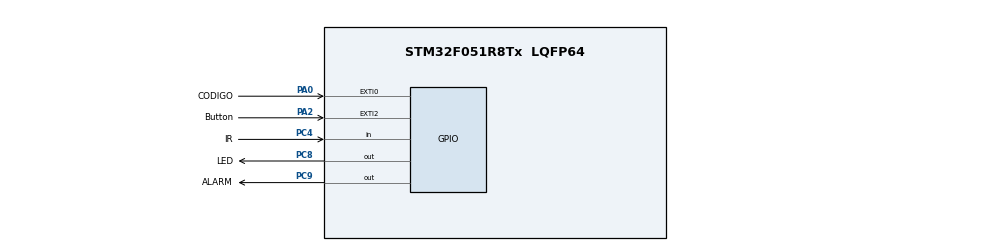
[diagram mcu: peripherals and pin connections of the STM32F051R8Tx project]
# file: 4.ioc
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FREERTOS.INCLUDE_vTaskDelay=1
FREERTOS.INCLUDE_vTaskDelayUntil=1
FREERTOS.Tasks01=MainTask,0,128,StartMainTask,Default,NULL,Dynamic,NULL,NULL
Mcu.Family=STM32F0
Mcu.Name=STM32F051R8Tx
Mcu.Package=LQFP64
NVIC.EXTI0_1_IRQn=true\:3\:0\:false\:false\:true\:true\:true
NVIC.EXTI2_3_IRQn=true\:3\:0\:false\:false\:true\:true\:true
NVIC.TIM1_BRK_UP_TRG_COM_IRQn=true\:0\:0\:false\:false\:true\:false\:false
NVIC.TimeBase=TIM1_BRK_UP_TRG_COM_IRQn
NVIC.TimeBaseIP=TIM1
PA0.GPIO_Label=CODIGO
PA0.Signal=GPXTI0
PA2.GPIO_Label=Button
PA2.Signal=GPXTI2
PC4.GPIO_Label=IR
PC4.GPIO_PuPd=GPIO_NOPULL
PC4.Signal=GPIO_Input
PC8.GPIO_Label=LED
PC8.Signal=GPIO_Output
PC9.GPIO_Label=ALARM
PC9.Signal=GPIO_Output
ProjectManager.HeapSize=0x200
ProjectManager.StackSize=0x400
ProjectManager.TargetToolchain=SW4STM32
VP_FREERTOS_VS_ENABLE.Mode=Enabled
VP_SYS_VS_tim1.Mode=TIM1
board=4

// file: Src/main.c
/**
  ******************************************************************************
  * File Name          : main.c
  * Description        : Main program body
  ******************************************************************************
  * This notice applies to any and all portions of this file
  * that are not between comment pairs USER CODE BEGIN and
  * USER CODE END. Other portions of this file, whether
  * inserted by the user or by software development tools
  * are owned by their respective copyright owners.
  *
  * Copyright (c) 2018 STMicroelectronics International N.V.
  * All rights reserved.
  *
  * Redistribution and use in source and binary forms, with or without
  * modification, are permitted, provided that the following conditions are met:
  *
  * 1. Redistribution of source code must retain the above copyright notice,
  *    this list of conditions and the following disclaimer.
  * 2. Redistributions in binary form must reproduce the above copyright notice,
  *    this list of conditions and the following disclaimer in the documentation
  *    and/or other materials provided with the distribution.
  * 3. Neither the name of STMicroelectronics nor the names of other
  *    contributors to this software may be used to endorse or promote products
  *    derived from this software without specific written permission.
  * 4. This software, including modifications and/or derivative works of this
  *    software, must execute solely and exclusively on microcontroller or
  *    microprocessor devices manufactured by or for STMicroelectronics.
  * 5. Redistribution and use of this software other than as permitted under
  *    this license is void and will automatically terminate your rights under
  *    this license.
  *
  * THIS SOFTWARE IS PROVIDED BY STMICROELECTRONICS AND CONTRIBUTORS "AS IS"
  * AND ANY EXPRESS, IMPLIED OR STATUTORY WARRANTIES, INCLUDING, BUT NOT
  * LIMITED TO, THE IMPLIED WARRANTIES OF MERCHANTABILITY, FITNESS FOR A
  * PARTICULAR PURPOSE AND NON-INFRINGEMENT OF THIRD PARTY INTELLECTUAL PROPERTY
  * RIGHTS ARE DISCLAIMED TO THE FULLEST EXTENT PERMITTED BY LAW. IN NO EVENT
  * SHALL STMICROELECTRONICS OR CONTRIBUTORS BE LIABLE FOR ANY DIRECT, INDIRECT,
  * INCIDENTAL, SPECIAL, EXEMPLARY, OR CONSEQUENTIAL DAMAGES (INCLUDING, BUT NOT
  * LIMITED TO, PROCUREMENT OF SUBSTITUTE GOODS OR SERVICES; LOSS OF USE, DATA,
  * OR PROFITS; OR BUSINESS INTERRUPTION) HOWEVER CAUSED AND ON ANY THEORY OF
  * LIABILITY, WHETHER IN CONTRACT, STRICT LIABILITY, OR TORT (INCLUDING
  * NEGLIGENCE OR OTHERWISE) ARISING IN ANY WAY OUT OF THE USE OF THIS SOFTWARE,
  * EVEN IF ADVISED OF THE POSSIBILITY OF SUCH DAMAGE.
  *
  ******************************************************************************
  */

#include "main.h"
#include "stm32f0xx_hal.h"
#include "cmsis_os.h"

/* USER CODE BEGIN Includes */
#include "fsm.h"
#include "led_fsm.h"
#include "alarm_fsm.h"
#include "stdio.h"
#include "codigo_fsm.h"

/* USER CODE END Includes */

osThreadId MainTaskHandle;

/* USER CODE BEGIN PV */
/* Private variables ---------------------------------------------------------*/

/* USER CODE END PV */

void SystemClock_Config(void);
static void MX_GPIO_Init(void);
void StartMainTask(void const * argument);

/* USER CODE BEGIN PFP */
/* Private function prototypes -----------------------------------------------*/

/* USER CODE END PFP */

int main(void)
{

  /* MCU Configuration----------------------------------------------------------*/

  /* Reset of all peripherals, Initializes the Flash interface and the Systick. */
  HAL_Init();

  /* Configure the system clock */
  SystemClock_Config();

  /* Initialize all configured peripherals */
  MX_GPIO_Init();

  /* Create the thread(s) */
  /* definition and creation of MainTask */
  osThreadDef(MainTask, StartMainTask, osPriorityNormal, 0, 128);
  MainTaskHandle = osThreadCreate(osThread(MainTask), NULL);

  /* Start scheduler */
  osKernelStart();

  /* We should never get here as control is now taken by the scheduler */

  /* Infinite loop */
  while (1)
  {

  }

}

/** System Clock Configuration
*/
void SystemClock_Config(void)
{

  RCC_OscInitTypeDef RCC_OscInitStruct;
  RCC_ClkInitTypeDef RCC_ClkInitStruct;

    /**Initializes the CPU, AHB and APB busses clocks
    */
  RCC_OscInitStruct.OscillatorType = RCC_OSCILLATORTYPE_HSI;
  RCC_OscInitStruct.HSIState = RCC_HSI_ON;
  RCC_OscInitStruct.HSICalibrationValue = 16;
  RCC_OscInitStruct.PLL.PLLState = RCC_PLL_NONE;
  if (HAL_RCC_OscConfig(&RCC_OscInitStruct) != HAL_OK)
  {
    _Error_Handler(__FILE__, __LINE__);
  }

    /**Initializes the CPU, AHB and APB busses clocks
    */
  RCC_ClkInitStruct.ClockType = RCC_CLOCKTYPE_HCLK|RCC_CLOCKTYPE_SYSCLK
                              |RCC_CLOCKTYPE_PCLK1;
  RCC_ClkInitStruct.SYSCLKSource = RCC_SYSCLKSOURCE_HSI;
  RCC_ClkInitStruct.AHBCLKDivider = RCC_SYSCLK_DIV1;
  RCC_ClkInitStruct.APB1CLKDivider = RCC_HCLK_DIV1;

  if (HAL_RCC_ClockConfig(&RCC_ClkInitStruct, FLASH_LATENCY_0) != HAL_OK)
  {
    _Error_Handler(__FILE__, __LINE__);
  }

    /**Configure the Systick interrupt time
    */
  HAL_SYSTICK_Config(HAL_RCC_GetHCLKFreq()/1000);

    /**Configure the Systick
    */
  HAL_SYSTICK_CLKSourceConfig(SYSTICK_CLKSOURCE_HCLK);

  /* SysTick_IRQn interrupt configuration */
  HAL_NVIC_SetPriority(SysTick_IRQn, 3, 0);
}

/** Configure pins as
        * Analog
        * Input
        * Output
        * EVENT_OUT
        * EXTI
*/
static void MX_GPIO_Init(void)
{

  GPIO_InitTypeDef GPIO_InitStruct;

  /* GPIO Ports Clock Enable */
  __HAL_RCC_GPIOA_CLK_ENABLE();
  __HAL_RCC_GPIOC_CLK_ENABLE();

  /*Configure GPIO pin Output Level */
  HAL_GPIO_WritePin(GPIOC, LED_Pin|ALARM_Pin, GPIO_PIN_RESET);

  /*Configure GPIO pins : CODIGO_Pin Button_Pin */
  GPIO_InitStruct.Pin = CODIGO_Pin|Button_Pin;
  GPIO_InitStruct.Mode = GPIO_MODE_IT_RISING;
  GPIO_InitStruct.Pull = GPIO_NOPULL;
  HAL_GPIO_Init(GPIOA, &GPIO_InitStruct);

  /*Configure GPIO pin : IR_Pin */
  GPIO_InitStruct.Pin = IR_Pin;
  GPIO_InitStruct.Mode = GPIO_MODE_INPUT;
  GPIO_InitStruct.Pull = GPIO_NOPULL;
  HAL_GPIO_Init(IR_GPIO_Port, &GPIO_InitStruct);

  /*Configure GPIO pins : LED_Pin ALARM_Pin */
  GPIO_InitStruct.Pin = LED_Pin|ALARM_Pin;
  GPIO_InitStruct.Mode = GPIO_MODE_OUTPUT_PP;
  GPIO_InitStruct.Pull = GPIO_NOPULL;
  GPIO_InitStruct.Speed = GPIO_SPEED_FREQ_LOW;
  HAL_GPIO_Init(GPIOC, &GPIO_InitStruct);

  /* EXTI interrupt init*/
  HAL_NVIC_SetPriority(EXTI0_1_IRQn, 3, 0);
  HAL_NVIC_EnableIRQ(EXTI0_1_IRQn);

  HAL_NVIC_SetPriority(EXTI2_3_IRQn, 3, 0);
  HAL_NVIC_EnableIRQ(EXTI2_3_IRQn);

}

/* StartMainTask function */
void StartMainTask(void const * argument)
{

  /* USER CODE BEGIN 5 */

	  fsm_t* switchLed;
	  fsm_alarm_t struct_alarm;
	  fsm_t* alarm;
	  fsm_cod_t struct_codigo;
	  fsm_t* codigo;

	  /* INITIALITATION LED*/
	  switchLed=initFSMLed();

	  /* INITIALITATION CODE */
	  /* we define the digit of the unlock code in condigo_fsm.h */
	  codigo=initFSMCod(&struct_codigo.code_ok,digit1,digit2,digit3);
	  struct_codigo.this=(*codigo);

	  /* INITIALITATION ALARM */
	  struct_alarm.code_ok=&struct_codigo.code_ok;
	  alarm=initFSMAlarm(struct_alarm.code_ok);
	  struct_alarm.this=(*alarm);

	  const TickType_t period = 200 /portTICK_RATE_MS;
	  TickType_t xLastWakeTime = xTaskGetTickCount () ;

  /* Infinite loop */
  for(;;)
  {

	  /***
	   * THE Sytem will work at the nominal frecuency because the G=1
	   */
	  vTaskDelayUntil (&xLastWakeTime , period ) ;
	  fsm_fire (switchLed);
	  fsm_fire (&struct_alarm.this);
	  fsm_fire(&struct_codigo.this);

  }
  /* USER CODE END 5 */
}

void HAL_TIM_PeriodElapsedCallback(TIM_HandleTypeDef *htim)
{
  if (htim->Instance == TIM1) {
    HAL_IncTick();
  }
}

void _Error_Handler(char * file, int line)
{
  while(1)
  {
  }
}

/************************ (C) COPYRIGHT STMicroelectronics *****END OF FILE****/
